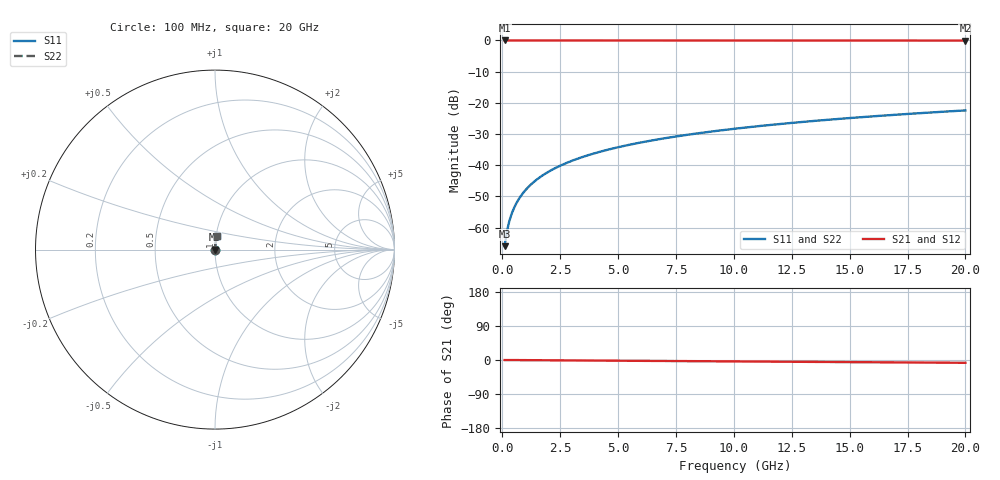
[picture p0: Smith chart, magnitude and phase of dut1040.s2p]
! Touchstone file exported from HFSS 2026.1.0
!  File:  C:/ffzhzh/LocalFiles/Ansys_Project_Files/temp_train_TSV_1040_1783189233_18472.aedt
!  Generated:  02:22:33 AM Jul  5, 2026
!  Design:  TSV
!  Project:  temp_train_TSV_1040_1783189233_18472
! Variables:
!  h_bsmrdl = 2um
!  h_ox = 20um
!  h_rdl = 5um
!  h_sub = 51.75um
!  h_tmrdl = 5um
!  h_tsv = 51.75um
!  h_via = 3um
!  l_bsmrdl = 300um
!  l_sub = 409.56um
!  l_tmrdl = 200um
!  m_sub = 200um
!  pitch = 51.52um
!  r_tsv = 4.78um
!  s_tmrdl = 10um
!  w_bsmrdl = 18um
!  w_sub = 500um
!  w_tmrdl = 12um
!  x_tsv_center1 = 206um
!  x_tsv_center2 = 524um
!  x_tsv_center3 = 736um
!  x_tsv_center4 = 1054um
!  x_tsv_center5 = 1266um
!  x_tsv_center6 = 1584um
# GHz S MA R 50.000000
! Terminal data exported
! Port[1] = TSV1_1_T1
! Port[2] = TSV1_1_T2
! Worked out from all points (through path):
!   200 points, 100 MHz to 20 GHz, reference 50 ohm
!   highest |S21| = 0.00 dB at 100 MHz (marker M1); lowest = 0.0 dB at 20 GHz (marker M2)
!   group delay of S21, straight-line fit = 1.03 ps
!   lowest |S11| = -65.9 dB at 100 MHz (marker M3), VSWR 1.00, Z = 50 + j0.0411 ohm
!   |S11| at or under -10 dB: start of sweep to end of sweep
!   |S22| runs from -65.9 to -22.4 dB; largest |S21 - S12| = 2.1e-15
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0.1  0.000505 54.4  0.9997 -0.0  0.9997 -0.0  0.000505 54.4
! Gamma 0 0 0 0
! Port Impedance 50 0 50 0
0.2  0.0008721 69.6  0.9997 -0.1  0.9997 -0.1  0.0008721 69.6
0.3  0.00126 75.4  0.9997 -0.1  0.9997 -0.1  0.00126 75.4
0.4  0.001651 78.4  0.9997 -0.2  0.9997 -0.2  0.001651 78.4
0.5  0.002041 80.3  0.9997 -0.2  0.9997 -0.2  0.002041 80.3
0.7  0.002822 82.5  0.9996 -0.3  0.9996 -0.3  0.002822 82.5
0.8  0.003212 83.2  0.9996 -0.3  0.9996 -0.3  0.003212 83.2
1  0.003992 84.1  0.9996 -0.4  0.9996 -0.4  0.003992 84.1
1.2  0.004772 84.8  0.9996 -0.5  0.9996 -0.5  0.004772 84.8
1.4  0.005553 85.2  0.9996 -0.5  0.9996 -0.5  0.005553 85.2
1.7  0.006723 85.7  0.9995 -0.6  0.9995 -0.6  0.006723 85.7
2  0.007892 85.9  0.9995 -0.8  0.9995 -0.8  0.007892 85.9
2.7  0.01061 86.2  0.9994 -1.0  0.9994 -1.0  0.01061 86.2
3.5  0.0137 86.2  0.9993 -1.3  0.9993 -1.3  0.0137 86.2
4.2  0.01638 86.1  0.9992 -1.6  0.9992 -1.6  0.01638 86.1
5  0.01944 85.9  0.9991 -1.9  0.9991 -1.9  0.01944 85.9
6.8  0.02627 85.5  0.9988 -2.5  0.9988 -2.5  0.02627 85.5
8.3  0.03194 85.1  0.9985 -3.1  0.9985 -3.1  0.03194 85.1
10.1  0.03871 84.6  0.9982 -3.8  0.9982 -3.8  0.03871 84.6
13.4  0.0511 83.6  0.9975 -5.0  0.9975 -5.0  0.0511 83.6
16.7  0.06342 82.6  0.9966 -6.2  0.9966 -6.2  0.06342 82.6
20  0.07567 81.4  0.9956 -7.4  0.9956 -7.4  0.07567 81.4
